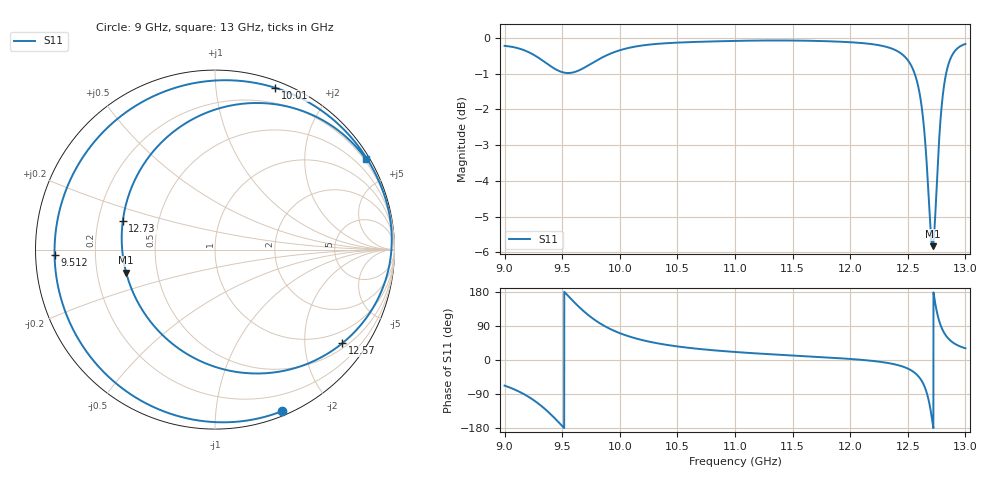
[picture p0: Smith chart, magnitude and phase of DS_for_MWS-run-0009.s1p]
! TOUCHSTONE file generated by CST DESIGN STUDIO
! Date and time: Tue Feb  4 14:29:09 2025
! Project name: C:\Work\MatlabApps\UnitCellOptimizationMatlab\CST\unitcell.cst
! Tree item: Tasks\Sweep1\SPara1\S-Parameters
! Header version: 2024
! Port assignment regex: !\s*Touchstone port\s*([0-9]+)\s*=\s*(CST MWS port|CST DES external port|CST DES block port)\s*(.+)\s* \(\"(.*)\"\)(\s*mode\s*([0-9]+))?.*
! Touchstone port assignment:
! Touchstone port 1 = CST DES external port 1 ("")
# GHz S MA R 50
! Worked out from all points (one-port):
!   4001 points, 9 GHz to 13 GHz, reference 50 ohm
!   lowest |S11| = -5.8 dB at 12.71 GHz (marker M1), VSWR 3.09, Z = 16.4 - j5.74 ohm
!   |S11| at or under -10 dB: nowhere
!   S11 on the Smith chart (normalised r, x): 9 GHz: 0.04, -1.49; 9.512 GHz: 0.06, -0.02; 10.01 GHz: 0.06, +1.44; 12.57 GHz: 0.63, -2.93; 12.73 GHz: 0.31, +0.14; 13 GHz: 0.14, +3.61
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9  0.9745 -67.6
9.166  0.9614 -89.8
9.282  0.9406 -112.5
9.385  0.9162 -138.8
9.5  0.8955 -174.2
9.512  0.8944 -178.1
9.606  0.8956 152.0
9.733  0.9165 117.0
9.847  0.9388 93.2
10  0.9608 70.8
10.01  0.9619 69.7
10.221  0.977 50.7
10.5  0.9848 35.8
11  0.9902 21.2
11.5  0.9914 11.9
12  0.986 2.8
12.311  0.9717 -7.1
12.5  0.9307 -22.6
12.57  0.8808 -36.3
12.619  0.8044 -54.2
12.661  0.6796 -83.1
12.688  0.5718 -116.0
12.715  0.5114 -165.4
12.731  0.5381 162.7
12.766  0.6936 110.0
12.802  0.8263 79.5
12.88  0.9424 48.7
13  0.9804 30.9
